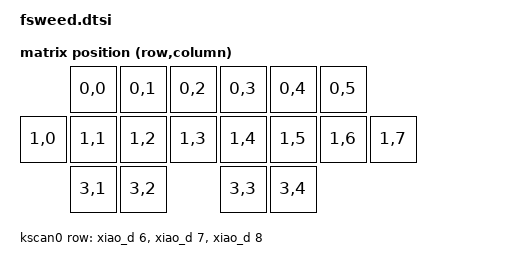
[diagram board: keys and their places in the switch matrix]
/*
 * Copyright (c) 2020 Pete Johanson
 *
 * SPDX-License-Identifier: MIT
 */

#include <dt-bindings/zmk/matrix_transform.h>
#include <dt-bindings/led/led.h>

/ {
    chosen {
        zmk,kscan = &kscan0;
        zmk,matrix_transform = &default_transform;
        zmk,underglow = &led_strip;
        zephyr,display = &oled;
        /* /delete-property/ zephyr,console; */

        /* /delete-property/ zephyr,shell-uart; */
    };

    default_transform: keymap_transform_0 {
        compatible = "zmk,matrix-transform";
        columns = <8>;
        rows = <3>;
// | SW1  | SW2  | SW3  | SW4  | SW5  | SW6  |   | SW6  | SW5  | SW4  | SW3  | SW2  | SW1  |
// | SW7  | SW8  | SW9  | SW10 | SW11 | SW12 |   | SW12 | SW11 | SW10 | SW9  | SW8  | SW7  |
// | SW13 | SW14 | SW15 | SW16 | SW17 | SW18 |   | SW18 | SW17 | SW16 | SW15 | SW14 | SW13 |
//                      | SW19 | SW20 | SW21 |   | SW21 | SW20 | SW19 |
        map = <
            RC(0,0) RC(0,1) RC(0,2) RC(0,3)  RC(0,4) RC(0,5) 
    RC(1,0) RC(1,1) RC(1,2) RC(1,3) RC(1,4)  RC(1,5) RC(1,6) RC(1,7)  
            RC(3,1) RC(3,2)         RC(3,3)  RC(3,4)
        >;
    };


    kscan0: kscan {
        compatible = "zmk,kscan-gpio-matrix";
        label = "KSCAN";
        diode-direction = "col2row";
        row-gpios
            = <&xiao_d 6 (GPIO_ACTIVE_HIGH | GPIO_PULL_DOWN)>
            , <&xiao_d 7 (GPIO_ACTIVE_HIGH | GPIO_PULL_DOWN)>
            , <&xiao_d 8 (GPIO_ACTIVE_HIGH | GPIO_PULL_DOWN)>
            ;
    };

};
/* &xiao_spi { status = "disabled"; }; */
/* &xiao_i2c { status = "disabled"; }; */
&xiao_serial { status = "disabled"; };

&xiao_i2c {
        status = "okay";
    
        oled: ssd1306@3c {
            compatible = "solomon,ssd1306fb";
            reg = <0x3c>;
            label = "DISPLAY";
            width = <128>;
            height = <32>;
            segment-offset = <0>;
            page-offset = <0>;
            display-offset = <0>;
            multiplex-ratio = <31>;
            segment-remap;
            com-invdir;
            com-sequential;
            prechargep = <0x22>;
        };
};

/* setting up configuration for seeduino , and then I'll add the overlays .  */
/* &leds { */
/*         compatible = "gpio-leds"; */
/*         blue_led: led_0 { */
/*             gpios = <&gpio0 10 GPIO_ACTIVE_HIGH>; */
/*             label = "Blue LED"; */
/*         }; */
/* }; */
&pinctrl {
    spi3_default: spi3_default {
        group1 {
            /* psels = <NRF_PSEL(SPIM_MOSI, 0, <&xiao_d 10>)>; */
            psels = <NRF_PSEL(SPIM_MOSI, 1, 15)>;
        };
    };

    spi3_sleep: spi3_sleep {
        group1 {
            /* psels = <NRF_PSEL(SPIM_MOSI, 0,<&xiao_d 10>)>; */
            psels = <NRF_PSEL(SPIM_MOSI, 1,15)>;
            low-power-enable;
        };
    };
};
/* &i2c0 { */
/*     compatible = "nordic,nrf-twi"; */
/*     pinctrl1 = <&i2c0_default>; */
/*     pinctrl-1 = <&i2c0_sleep>; */
/*     pinctrl-names = "default", "sleep"; */
/* }; */
/* &uart0 { */
/*     compatible = "nordic,nrf-uarte"; */
/*     current-speed = <115200>; */
/*     pinctrl-0 = <&uart0_default>; */
/*     pinctrl-1 = <&uart0_sleep>; */
/*     pinctrl-names = "default", "sleep"; */
/* }; */
&spi3 {
    compatible = "nordic,nrf-spim";
    status = "okay";

    pinctrl-0 = <&spi3_default>;
    pinctrl-1 = <&spi3_sleep>;
    pinctrl-names = "default", "sleep";

    led_strip: ws2812@0 {
        compatible = "worldsemi,ws2812-spi";
        label = "WS2812";

        /* SPI */
        reg = <0>; /* ignored, but necessary for SPI bindings */
        spi-max-frequency = <4000000>;

        /* WS2812 */
        chain-length = <7>; /* arbitrary; change at will */
        spi-one-frame = <0x70>;
        spi-zero-frame = <0x40>;

        color-mapping = <LED_COLOR_ID_GREEN LED_COLOR_ID_RED LED_COLOR_ID_BLUE>;
    };
};
